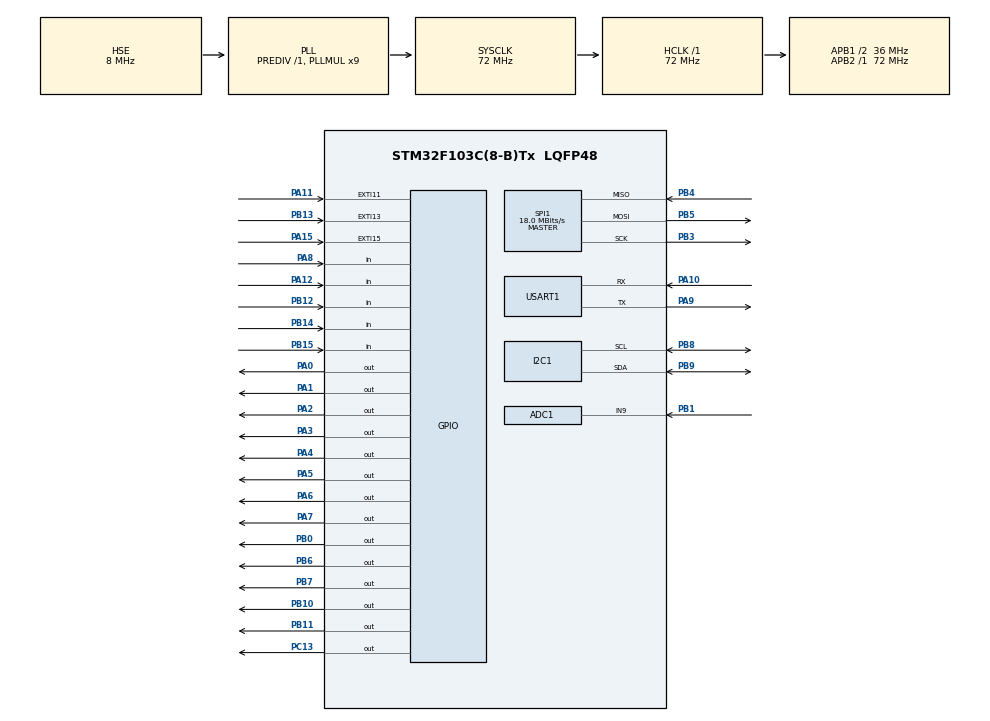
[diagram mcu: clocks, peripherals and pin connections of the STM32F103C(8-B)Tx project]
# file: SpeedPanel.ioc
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ADC1.Channel-1\#ChannelRegularConversion=ADC_CHANNEL_9
ADC1.NbrOfConversionFlag=1
ADC1.Rank-1\#ChannelRegularConversion=1
ADC1.SamplingTime-1\#ChannelRegularConversion=ADC_SAMPLETIME_71CYCLES_5
ADC1.master=1
Mcu.Family=STM32F1
Mcu.Name=STM32F103C(8-B)Tx
Mcu.Package=LQFP48
NVIC.EXTI15_10_IRQn=true\:0\:0\:false\:true\:true\:2\:true
NVIC.PriorityGroup=NVIC_PRIORITYGROUP_4
NVIC.RTC_IRQn=true\:0\:0\:false\:true\:true\:1\:true
PA0-WKUP.GPIO_ModeDefaultOutputPP=GPIO_MODE_OUTPUT_PP
PA0-WKUP.GPIO_Speed=GPIO_SPEED_FREQ_HIGH
PA0-WKUP.PinState=GPIO_PIN_SET
PA0-WKUP.Signal=GPIO_Output
PA1.GPIO_ModeDefaultOutputPP=GPIO_MODE_OUTPUT_PP
PA1.GPIO_Speed=GPIO_SPEED_FREQ_HIGH
PA1.PinState=GPIO_PIN_SET
PA1.Signal=GPIO_Output
PA10.Mode=Asynchronous
PA10.Signal=USART1_RX
PA11.GPIO_ModeDefaultEXTI=GPIO_MODE_IT_RISING_FALLING
PA11.GPIO_PuPd=GPIO_PULLUP
PA11.Signal=GPXTI11
PA12.GPIO_PuPd=GPIO_PULLUP
PA12.Signal=GPIO_Input
PA13.Mode=Serial_Wire
PA13.Signal=SYS_JTMS-SWDIO
PA14.Mode=Serial_Wire
PA14.Signal=SYS_JTCK-SWCLK
PA15.GPIO_ModeDefaultEXTI=GPIO_MODE_IT_FALLING
PA15.GPIO_PuPd=GPIO_PULLUP
PA15.Signal=GPXTI15
PA2.GPIO_ModeDefaultOutputPP=GPIO_MODE_OUTPUT_PP
PA2.GPIO_Speed=GPIO_SPEED_FREQ_HIGH
PA2.PinState=GPIO_PIN_SET
PA2.Signal=GPIO_Output
PA3.GPIO_ModeDefaultOutputPP=GPIO_MODE_OUTPUT_PP
PA3.GPIO_Speed=GPIO_SPEED_FREQ_HIGH
PA3.PinState=GPIO_PIN_SET
PA3.Signal=GPIO_Output
PA4.GPIO_ModeDefaultOutputPP=GPIO_MODE_OUTPUT_PP
PA4.GPIO_Speed=GPIO_SPEED_FREQ_HIGH
PA4.PinState=GPIO_PIN_SET
PA4.Signal=GPIO_Output
PA5.GPIO_ModeDefaultOutputPP=GPIO_MODE_OUTPUT_PP
PA5.GPIO_Speed=GPIO_SPEED_FREQ_HIGH
PA5.PinState=GPIO_PIN_SET
PA5.Signal=GPIO_Output
PA6.GPIO_ModeDefaultOutputPP=GPIO_MODE_OUTPUT_PP
PA6.GPIO_Speed=GPIO_SPEED_FREQ_HIGH
PA6.PinState=GPIO_PIN_SET
PA6.Signal=GPIO_Output
PA7.GPIO_ModeDefaultOutputPP=GPIO_MODE_OUTPUT_PP
PA7.GPIO_Speed=GPIO_SPEED_FREQ_HIGH
PA7.PinState=GPIO_PIN_SET
PA7.Signal=GPIO_Output
PA8.Signal=GPIO_Input
PA9.Mode=Asynchronous
PA9.Signal=USART1_TX
PB0.GPIO_ModeDefaultOutputPP=GPIO_MODE_OUTPUT_PP
PB0.GPIO_Speed=GPIO_SPEED_FREQ_HIGH
PB0.PinState=GPIO_PIN_SET
PB0.Signal=GPIO_Output
PB1.Signal=ADCx_IN9
PB10.GPIO_ModeDefaultOutputPP=GPIO_MODE_OUTPUT_PP
PB10.GPIO_Speed=GPIO_SPEED_FREQ_HIGH
PB10.PinState=GPIO_PIN_SET
PB10.Signal=GPIO_Output
PB11.GPIO_ModeDefaultOutputPP=GPIO_MODE_OUTPUT_PP
PB11.GPIO_Speed=GPIO_SPEED_FREQ_HIGH
PB11.PinState=GPIO_PIN_SET
PB11.Signal=GPIO_Output
PB12.Signal=GPIO_Input
PB13.Signal=GPXTI13
PB14.Signal=GPIO_Input
PB15.Signal=GPIO_Input
PB3.Mode=Full_Duplex_Master
PB3.Signal=SPI1_SCK
PB4.Mode=Full_Duplex_Master
PB4.Signal=SPI1_MISO
PB5.Mode=Full_Duplex_Master
PB5.Signal=SPI1_MOSI
PB6.GPIO_ModeDefaultOutputPP=GPIO_MODE_OUTPUT_PP
PB6.GPIO_Speed=GPIO_SPEED_FREQ_HIGH
PB6.PinState=GPIO_PIN_SET
PB6.Signal=GPIO_Output
PB7.GPIO_ModeDefaultOutputPP=GPIO_MODE_OUTPUT_PP
PB7.GPIO_Speed=GPIO_SPEED_FREQ_HIGH
PB7.PinState=GPIO_PIN_SET
PB7.Signal=GPIO_Output
PB8.Mode=I2C
PB8.Signal=I2C1_SCL
PB9.Mode=I2C
PB9.Signal=I2C1_SDA
PC13-TAMPER-RTC.GPIO_Speed=GPIO_SPEED_FREQ_HIGH
PC13-TAMPER-RTC.Signal=GPIO_Output
PC14-OSC32_IN.Mode=LSE-External-Oscillator
PC14-OSC32_IN.Signal=RCC_OSC32_IN
PC15-OSC32_OUT.Mode=LSE-External-Oscillator
PC15-OSC32_OUT.Signal=RCC_OSC32_OUT
PD0-OSC_IN.Mode=HSE-External-Oscillator
PD0-OSC_IN.Signal=RCC_OSC_IN
PD1-OSC_OUT.Mode=HSE-External-Oscillator
PD1-OSC_OUT.Signal=RCC_OSC_OUT
ProjectManager.HeapSize=0x200
ProjectManager.StackSize=0x400
ProjectManager.TargetToolchain=MDK-ARM V5
RCC.ADCPresc=RCC_ADCPCLK2_DIV6
RCC.AHBFreq_Value=72000000
RCC.APB1CLKDivider=RCC_HCLK_DIV2
RCC.APB1Freq_Value=36000000
RCC.APB1TimFreq_Value=72000000
RCC.APB2Freq_Value=72000000
RCC.APB2TimFreq_Value=72000000
RCC.HCLKFreq_Value=72000000
RCC.PLLMUL=RCC_PLL_MUL9
RCC.PLLSourceVirtual=RCC_PLLSOURCE_HSE
RCC.RTCClockSelection=RCC_RTCCLKSOURCE_LSE
RCC.SYSCLKFreq_VALUE=72000000
RCC.SYSCLKSource=RCC_SYSCLKSOURCE_PLLCLK
RCC.USBFreq_Value=72000000
RTC.Date=31
RTC.Format=RTC_FORMAT_BIN
RTC.Hours=5
RTC.Minutes=55
RTC.Month=RTC_MONTH_JULY
RTC.WeekDay=RTC_WEEKDAY_FRIDAY
RTC.Year=17
SH.ADCx_IN9.0=ADC1_IN9,IN9
SPI1.BaudRatePrescaler=SPI_BAUDRATEPRESCALER_4
SPI1.CalculateBaudRate=18.0 MBits/s
SPI1.Direction=SPI_DIRECTION_2LINES
SPI1.Mode=SPI_MODE_MASTER
SPI1.VirtualType=VM_MASTER
USART1.VirtualMode=VM_ASYNC
VP_RTC_VS_RTC_Activate.Mode=RTC_Enabled
VP_RTC_VS_RTC_Calendar.Mode=RTC_Calendar
board=SpeedPanel

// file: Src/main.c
/**
  ******************************************************************************
  * @file           : main.c
  * @brief          : Main program body
  ******************************************************************************
  ** This notice applies to any and all portions of this file
  * that are not between comment pairs USER CODE BEGIN and
  * USER CODE END. Other portions of this file, whether
  * inserted by the user or by software development tools
  * are owned by their respective copyright owners.
  *
  * COPYRIGHT(c) 2018 STMicroelectronics
  *
  * Redistribution and use in source and binary forms, with or without modification,
  * are permitted provided that the following conditions are met:
  *   1. Redistributions of source code must retain the above copyright notice,
  *      this list of conditions and the following disclaimer.
  *   2. Redistributions in binary form must reproduce the above copyright notice,
  *      this list of conditions and the following disclaimer in the documentation
  *      and/or other materials provided with the distribution.
  *   3. Neither the name of STMicroelectronics nor the names of its contributors
  *      may be used to endorse or promote products derived from this software
  *      without specific prior written permission.
  *
  * THIS SOFTWARE IS PROVIDED BY THE COPYRIGHT HOLDERS AND CONTRIBUTORS "AS IS"
  * AND ANY EXPRESS OR IMPLIED WARRANTIES, INCLUDING, BUT NOT LIMITED TO, THE
  * IMPLIED WARRANTIES OF MERCHANTABILITY AND FITNESS FOR A PARTICULAR PURPOSE ARE
  * DISCLAIMED. IN NO EVENT SHALL THE COPYRIGHT HOLDER OR CONTRIBUTORS BE LIABLE
  * FOR ANY DIRECT, INDIRECT, INCIDENTAL, SPECIAL, EXEMPLARY, OR CONSEQUENTIAL
  * DAMAGES (INCLUDING, BUT NOT LIMITED TO, PROCUREMENT OF SUBSTITUTE GOODS OR
  * SERVICES; LOSS OF USE, DATA, OR PROFITS; OR BUSINESS INTERRUPTION) HOWEVER
  * CAUSED AND ON ANY THEORY OF LIABILITY, WHETHER IN CONTRACT, STRICT LIABILITY,
  * OR TORT (INCLUDING NEGLIGENCE OR OTHERWISE) ARISING IN ANY WAY OUT OF THE USE
  * OF THIS SOFTWARE, EVEN IF ADVISED OF THE POSSIBILITY OF SUCH DAMAGE.
  *
  ******************************************************************************
  */
#include "main.h"
#include "stm32f1xx_hal.h"

/* USER CODE BEGIN Includes */
#include "ST7529.h"
#include <stdio.h>
#include "HMC5883L.h"
#include "UI.h"
#include "page.h"
#include "RotaryEncoder.h"

/* USER CODE END Includes */

ADC_HandleTypeDef hadc1;

I2C_HandleTypeDef hi2c1;

RTC_HandleTypeDef hrtc;

SPI_HandleTypeDef hspi1;

UART_HandleTypeDef huart1;

/* USER CODE BEGIN PV */
/* Private variables ---------------------------------------------------------*/

uint8_t UI=UI_MAIN;		//当前显示界面
uint8_t COMP_state;		//磁力计状态
float coe;						//指南针较正系数
PageTypeDef *CurrentPage;
extern void Speed_Cal(void);	//速度计算，PB13中断时调用
extern PageTypeDef PageMainUi;  //主显示页面
extern PageTypeDef SettingUi;	//设置页面

/* USER CODE END PV */

void SystemClock_Config(void);
static void MX_GPIO_Init(void);
static void MX_ADC1_Init(void);
static void MX_I2C1_Init(void);
static void MX_RTC_Init(void);
static void MX_SPI1_Init(void);
static void MX_USART1_UART_Init(void);
static void MX_NVIC_Init(void);

/* USER CODE BEGIN PFP */
/* Private function prototypes -----------------------------------------------*/

/* USER CODE END PFP */

/* USER CODE BEGIN 0 */
//printf重定向
int fputc(int ch, FILE *f)
{
	/* Place your implementation of fputc here */
  /* e.g. write a character to the USART */
	ST7529_Putchar((uint8_t) ch);

  return ch;
}

//重写中断回调函数
void HAL_GPIO_EXTI_Callback(uint16_t GPIO_Pin)
{
	if(GPIO_Pin==GPIO_PIN_13)
		Speed_Cal();
	else
		RE_call(GPIO_Pin);
}

/* USER CODE END 0 */

int main(void)
{

  /* MCU Configuration----------------------------------------------------------*/

  /* Reset of all peripherals, Initializes the Flash interface and the Systick. */
  HAL_Init();

  /* Configure the system clock */
  SystemClock_Config();

  /* USER CODE BEGIN SysInit */
	//HAL_BKP_TamperPinCmd(DISABLE);
  /* USER CODE END SysInit */

  /* Initialize all configured peripherals */
  MX_GPIO_Init();
  MX_ADC1_Init();
  MX_I2C1_Init();
  MX_RTC_Init();
  MX_SPI1_Init();
  MX_USART1_UART_Init();

  /* Initialize interrupts */
  MX_NVIC_Init();
  /* USER CODE BEGIN 2 */

	CurrentPage=&PageMainUi;
	//CurrentPage=&SettingUi;

	//为解决I2C死锁在BUSY STATE增加的代码
	HAL_I2C_DeInit(&hi2c1);
	MX_I2C1_Init();
	/**********************************/

	ST7529_Init();	//初始化显示

	FONT=ASCII9X12;

	//显示主界面
	CurrentPage->PageInit();
	//MainUI_dis();

	//初始化指南针
	COMP_state=HAL_I2C_IsDeviceReady(&hi2c1, HMC5883L_ADD, 5, 1);
	if (COMP_state==HAL_OK)
	{
		//coe=HMC5883L_Selftest(&hi2c1);
		HMC5883L_Init(&hi2c1, HMC5883L_CON, HMC5883L_ODR15, 1);
	}

  /* USER CODE END 2 */

  /* Infinite loop */
  while (1)
  {

  /* USER CODE BEGIN 3 */
		CurrentPage->PageLoop();
//		if (UI==UI_MAIN)
//		{
//			CurrentPage->PageLoop();
//			//MainUI_loop();
//		}

  }
  /* USER CODE END 3 */

}

void SystemClock_Config(void)
{

  RCC_OscInitTypeDef RCC_OscInitStruct;
  RCC_ClkInitTypeDef RCC_ClkInitStruct;
  RCC_PeriphCLKInitTypeDef PeriphClkInit;

    /**Initializes the CPU, AHB and APB busses clocks
    */
  RCC_OscInitStruct.OscillatorType = RCC_OSCILLATORTYPE_HSE|RCC_OSCILLATORTYPE_LSE;
  RCC_OscInitStruct.HSEState = RCC_HSE_ON;
  RCC_OscInitStruct.HSEPredivValue = RCC_HSE_PREDIV_DIV1;
  RCC_OscInitStruct.LSEState = RCC_LSE_ON;
  RCC_OscInitStruct.HSIState = RCC_HSI_ON;
  RCC_OscInitStruct.PLL.PLLState = RCC_PLL_ON;
  RCC_OscInitStruct.PLL.PLLSource = RCC_PLLSOURCE_HSE;
  RCC_OscInitStruct.PLL.PLLMUL = RCC_PLL_MUL9;
  if (HAL_RCC_OscConfig(&RCC_OscInitStruct) != HAL_OK)
  {
    _Error_Handler(__FILE__, __LINE__);
  }

    /**Initializes the CPU, AHB and APB busses clocks
    */
  RCC_ClkInitStruct.ClockType = RCC_CLOCKTYPE_HCLK|RCC_CLOCKTYPE_SYSCLK
                              |RCC_CLOCKTYPE_PCLK1|RCC_CLOCKTYPE_PCLK2;
  RCC_ClkInitStruct.SYSCLKSource = RCC_SYSCLKSOURCE_PLLCLK;
  RCC_ClkInitStruct.AHBCLKDivider = RCC_SYSCLK_DIV1;
  RCC_ClkInitStruct.APB1CLKDivider = RCC_HCLK_DIV2;
  RCC_ClkInitStruct.APB2CLKDivider = RCC_HCLK_DIV1;

  if (HAL_RCC_ClockConfig(&RCC_ClkInitStruct, FLASH_LATENCY_2) != HAL_OK)
  {
    _Error_Handler(__FILE__, __LINE__);
  }

  PeriphClkInit.PeriphClockSelection = RCC_PERIPHCLK_RTC|RCC_PERIPHCLK_ADC;
  PeriphClkInit.RTCClockSelection = RCC_RTCCLKSOURCE_LSE;
  PeriphClkInit.AdcClockSelection = RCC_ADCPCLK2_DIV6;
  if (HAL_RCCEx_PeriphCLKConfig(&PeriphClkInit) != HAL_OK)
  {
    _Error_Handler(__FILE__, __LINE__);
  }

    /**Configure the Systick interrupt time
    */
  HAL_SYSTICK_Config(HAL_RCC_GetHCLKFreq()/1000);

    /**Configure the Systick
    */
  HAL_SYSTICK_CLKSourceConfig(SYSTICK_CLKSOURCE_HCLK);

  /* SysTick_IRQn interrupt configuration */
  HAL_NVIC_SetPriority(SysTick_IRQn, 0, 0);
}

/**
  * @brief NVIC Configuration.
  * @retval None
  */
static void MX_NVIC_Init(void)
{
  /* RTC_IRQn interrupt configuration */
  HAL_NVIC_SetPriority(RTC_IRQn, 0, 0);
  HAL_NVIC_EnableIRQ(RTC_IRQn);
  /* EXTI15_10_IRQn interrupt configuration */
  HAL_NVIC_SetPriority(EXTI15_10_IRQn, 0, 0);
  HAL_NVIC_EnableIRQ(EXTI15_10_IRQn);
}

/* ADC1 init function */
static void MX_ADC1_Init(void)
{

  ADC_ChannelConfTypeDef sConfig;

    /**Common config
    */
  hadc1.Instance = ADC1;
  hadc1.Init.ScanConvMode = ADC_SCAN_DISABLE;
  hadc1.Init.ContinuousConvMode = DISABLE;
  hadc1.Init.DiscontinuousConvMode = DISABLE;
  hadc1.Init.ExternalTrigConv = ADC_SOFTWARE_START;
  hadc1.Init.DataAlign = ADC_DATAALIGN_RIGHT;
  hadc1.Init.NbrOfConversion = 1;
  if (HAL_ADC_Init(&hadc1) != HAL_OK)
  {
    _Error_Handler(__FILE__, __LINE__);
  }

    /**Configure Regular Channel
    */
  sConfig.Channel = ADC_CHANNEL_9;
  sConfig.Rank = ADC_REGULAR_RANK_1;
  sConfig.SamplingTime = ADC_SAMPLETIME_71CYCLES_5;
  if (HAL_ADC_ConfigChannel(&hadc1, &sConfig) != HAL_OK)
  {
    _Error_Handler(__FILE__, __LINE__);
  }

}

/* I2C1 init function */
static void MX_I2C1_Init(void)
{

  hi2c1.Instance = I2C1;
  hi2c1.Init.ClockSpeed = 100000;
  hi2c1.Init.DutyCycle = I2C_DUTYCYCLE_2;
  hi2c1.Init.OwnAddress1 = 0;
  hi2c1.Init.AddressingMode = I2C_ADDRESSINGMODE_7BIT;
  hi2c1.Init.DualAddressMode = I2C_DUALADDRESS_DISABLE;
  hi2c1.Init.OwnAddress2 = 0;
  hi2c1.Init.GeneralCallMode = I2C_GENERALCALL_DISABLE;
  hi2c1.Init.NoStretchMode = I2C_NOSTRETCH_DISABLE;
  if (HAL_I2C_Init(&hi2c1) != HAL_OK)
  {
    _Error_Handler(__FILE__, __LINE__);
  }

}

/* RTC init function */
static void MX_RTC_Init(void)
{

  RTC_TimeTypeDef sTime;
  RTC_DateTypeDef DateToUpdate;

    /**Initialize RTC Only
    */
  hrtc.Instance = RTC;
  hrtc.Init.AsynchPrediv = RTC_AUTO_1_SECOND;
  hrtc.Init.OutPut = RTC_OUTPUTSOURCE_ALARM;
  if (HAL_RTC_Init(&hrtc) != HAL_OK)
  {
    _Error_Handler(__FILE__, __LINE__);
  }

    /**Initialize RTC and set the Time and Date
    */
  sTime.Hours = 5;
  sTime.Minutes = 55;
  sTime.Seconds = 0;

  if (HAL_RTC_SetTime(&hrtc, &sTime, RTC_FORMAT_BIN) != HAL_OK)
  {
    _Error_Handler(__FILE__, __LINE__);
  }

  DateToUpdate.WeekDay = RTC_WEEKDAY_FRIDAY;
  DateToUpdate.Month = RTC_MONTH_JULY;
  DateToUpdate.Date = 31;
  DateToUpdate.Year = 17;

  if (HAL_RTC_SetDate(&hrtc, &DateToUpdate, RTC_FORMAT_BIN) != HAL_OK)
  {
    _Error_Handler(__FILE__, __LINE__);
  }

}

/* SPI1 init function */
static void MX_SPI1_Init(void)
{

  /* SPI1 parameter configuration*/
  hspi1.Instance = SPI1;
  hspi1.Init.Mode = SPI_MODE_MASTER;
  hspi1.Init.Direction = SPI_DIRECTION_2LINES;
  hspi1.Init.DataSize = SPI_DATASIZE_8BIT;
  hspi1.Init.CLKPolarity = SPI_POLARITY_LOW;
  hspi1.Init.CLKPhase = SPI_PHASE_1EDGE;
  hspi1.Init.NSS = SPI_NSS_SOFT;
  hspi1.Init.BaudRatePrescaler = SPI_BAUDRATEPRESCALER_4;
  hspi1.Init.FirstBit = SPI_FIRSTBIT_MSB;
  hspi1.Init.TIMode = SPI_TIMODE_DISABLE;
  hspi1.Init.CRCCalculation = SPI_CRCCALCULATION_DISABLE;
  hspi1.Init.CRCPolynomial = 10;
  if (HAL_SPI_Init(&hspi1) != HAL_OK)
  {
    _Error_Handler(__FILE__, __LINE__);
  }

}

/* USART1 init function */
static void MX_USART1_UART_Init(void)
{

  huart1.Instance = USART1;
  huart1.Init.BaudRate = 115200;
  huart1.Init.WordLength = UART_WORDLENGTH_8B;
  huart1.Init.StopBits = UART_STOPBITS_1;
  huart1.Init.Parity = UART_PARITY_NONE;
  huart1.Init.Mode = UART_MODE_TX_RX;
  huart1.Init.HwFlowCtl = UART_HWCONTROL_NONE;
  huart1.Init.OverSampling = UART_OVERSAMPLING_16;
  if (HAL_UART_Init(&huart1) != HAL_OK)
  {
    _Error_Handler(__FILE__, __LINE__);
  }

}

/** Configure pins as
        * Analog
        * Input
        * Output
        * EVENT_OUT
        * EXTI
*/
static void MX_GPIO_Init(void)
{

  GPIO_InitTypeDef GPIO_InitStruct;

  /* GPIO Ports Clock Enable */
  __HAL_RCC_GPIOC_CLK_ENABLE();
  __HAL_RCC_GPIOD_CLK_ENABLE();
  __HAL_RCC_GPIOA_CLK_ENABLE();
  __HAL_RCC_GPIOB_CLK_ENABLE();

  /*Configure GPIO pin Output Level */
  HAL_GPIO_WritePin(GPIOC, GPIO_PIN_13, GPIO_PIN_RESET);

  /*Configure GPIO pin Output Level */
  HAL_GPIO_WritePin(GPIOA, GPIO_PIN_0|GPIO_PIN_1|GPIO_PIN_2|GPIO_PIN_3
                          |GPIO_PIN_4|GPIO_PIN_5|GPIO_PIN_6|GPIO_PIN_7, GPIO_PIN_SET);

  /*Configure GPIO pin Output Level */
  HAL_GPIO_WritePin(GPIOB, GPIO_PIN_0|GPIO_PIN_10|GPIO_PIN_11|GPIO_PIN_6
                          |GPIO_PIN_7, GPIO_PIN_SET);

  /*Configure GPIO pin : PC13 */
  GPIO_InitStruct.Pin = GPIO_PIN_13;
  GPIO_InitStruct.Mode = GPIO_MODE_OUTPUT_PP;
  GPIO_InitStruct.Pull = GPIO_NOPULL;
  GPIO_InitStruct.Speed = GPIO_SPEED_FREQ_HIGH;
  HAL_GPIO_Init(GPIOC, &GPIO_InitStruct);

  /*Configure GPIO pins : PA0 PA1 PA2 PA3
                           PA4 PA5 PA6 PA7 */
  GPIO_InitStruct.Pin = GPIO_PIN_0|GPIO_PIN_1|GPIO_PIN_2|GPIO_PIN_3
                          |GPIO_PIN_4|GPIO_PIN_5|GPIO_PIN_6|GPIO_PIN_7;
  GPIO_InitStruct.Mode = GPIO_MODE_OUTPUT_PP;
  GPIO_InitStruct.Pull = GPIO_NOPULL;
  GPIO_InitStruct.Speed = GPIO_SPEED_FREQ_HIGH;
  HAL_GPIO_Init(GPIOA, &GPIO_InitStruct);

  /*Configure GPIO pins : PB0 PB10 PB11 PB6
                           PB7 */
  GPIO_InitStruct.Pin = GPIO_PIN_0|GPIO_PIN_10|GPIO_PIN_11|GPIO_PIN_6
                          |GPIO_PIN_7|GPIO_PIN_12;
  GPIO_InitStruct.Mode = GPIO_MODE_OUTPUT_PP;
  GPIO_InitStruct.Pull = GPIO_NOPULL;
  GPIO_InitStruct.Speed = GPIO_SPEED_FREQ_HIGH;
  HAL_GPIO_Init(GPIOB, &GPIO_InitStruct);

  /*Configure GPIO pins : PB12 PB14 PB15 */
  GPIO_InitStruct.Pin = GPIO_PIN_12|GPIO_PIN_14|GPIO_PIN_15;
  GPIO_InitStruct.Mode = GPIO_MODE_INPUT;
  GPIO_InitStruct.Pull = GPIO_NOPULL;
  HAL_GPIO_Init(GPIOB, &GPIO_InitStruct);

  /*Configure GPIO pin : PB13 */
  GPIO_InitStruct.Pin = GPIO_PIN_13;
  GPIO_InitStruct.Mode = GPIO_MODE_IT_RISING;
  GPIO_InitStruct.Pull = GPIO_NOPULL;
  HAL_GPIO_Init(GPIOB, &GPIO_InitStruct);

  /*Configure GPIO pin : PA8 */
  GPIO_InitStruct.Pin = GPIO_PIN_8;
  GPIO_InitStruct.Mode = GPIO_MODE_INPUT;
  GPIO_InitStruct.Pull = GPIO_NOPULL;
  HAL_GPIO_Init(GPIOA, &GPIO_InitStruct);

  /*Configure GPIO pin : PA11 */
  GPIO_InitStruct.Pin = GPIO_PIN_11;
  GPIO_InitStruct.Mode = GPIO_MODE_IT_RISING_FALLING;
  GPIO_InitStruct.Pull = GPIO_PULLUP;
  HAL_GPIO_Init(GPIOA, &GPIO_InitStruct);

  /*Configure GPIO pin : PA12 */
  GPIO_InitStruct.Pin = GPIO_PIN_12;
  GPIO_InitStruct.Mode = GPIO_MODE_INPUT;
  GPIO_InitStruct.Pull = GPIO_PULLUP;
  HAL_GPIO_Init(GPIOA, &GPIO_InitStruct);

  /*Configure GPIO pin : PA15 */
  GPIO_InitStruct.Pin = GPIO_PIN_15;
  GPIO_InitStruct.Mode = GPIO_MODE_IT_FALLING;
  GPIO_InitStruct.Pull = GPIO_PULLUP;
  HAL_GPIO_Init(GPIOA, &GPIO_InitStruct);

}

void _Error_Handler(char *file, int line)
{
  while(1)
  {
  }
}

/************************ (C) COPYRIGHT STMicroelectronics *****END OF FILE****/
